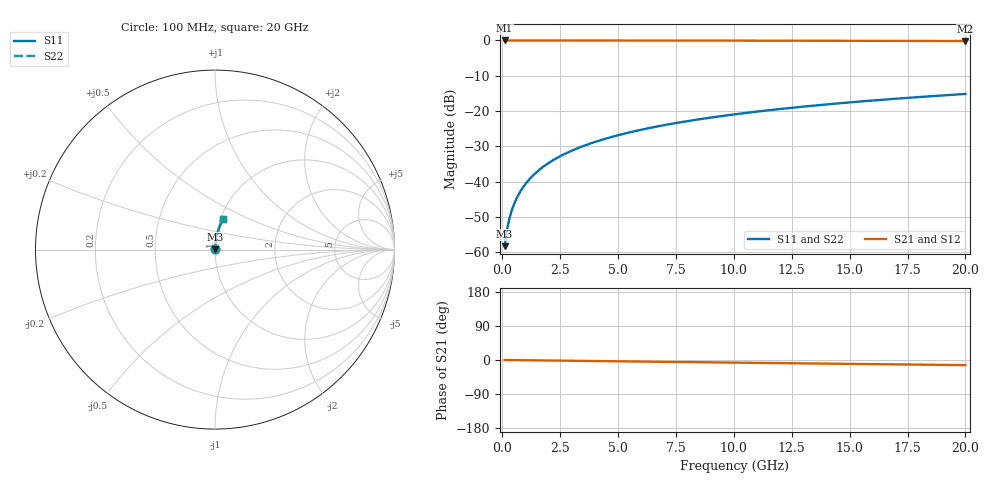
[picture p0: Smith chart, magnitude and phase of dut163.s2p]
! Touchstone file exported from HFSS 2026.1.0
!  File:  C:/ffzhzh/LocalFiles/Ansys_Project_Files/temp_train_BSMRDL_163_1782986849_42984.aedt
!  Generated:  06:09:12 PM Jul  2, 2026
!  Design:  BSMRDL
!  Project:  temp_train_BSMRDL_163_1782986849_42984
! Variables:
!  h_bsmrdl = 4.75um
!  h_ox = 20um
!  h_rdl = 5um
!  h_sub = 80um
!  h_tmrdl = 5um
!  h_tsv = 80um
!  h_via = 3um
!  l_bsmrdl = 122.9um
!  l_sub = 522.9um
!  l_tmrdl = 200um
!  m_sub = 200um
!  pitch = 57.92um
!  r_tsv = 6um
!  s_tmrdl = 10um
!  w_bsmrdl = 14.39um
!  w_sub = 500um
!  w_tmrdl = 12um
!  x_tsv_center1 = 206um
!  x_tsv_center2 = 343.29um
!  x_tsv_center3 = 555.29um
!  x_tsv_center4 = 692.58um
!  x_tsv_center5 = 904.58um
!  x_tsv_center6 = 1041.87um
# GHz S MA R 50.000000
! Terminal data exported
! Port[1] = BSM_RDL1_1_T1
! Port[2] = BSM_RDL1_1_T2
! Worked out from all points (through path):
!   200 points, 100 MHz to 20 GHz, reference 50 ohm
!   highest |S21| = -0.01 dB at 100 MHz (marker M1); lowest = -0.2 dB at 20 GHz (marker M2)
!   group delay of S21, straight-line fit = 1.88 ps
!   lowest |S11| = -58.3 dB at 100 MHz (marker M3), VSWR 1.00, Z = 50.1 + j0.0948 ohm
!   |S11| at or under -10 dB: start of sweep to end of sweep
!   |S22| runs from -58.3 to -15.2 dB; largest |S21 - S12| = 3.1e-15
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0.1  0.001219 50.9  0.9992 -0.1  0.9992 -0.1  0.001219 50.9
! Gamma 0 0 0 0
! Port Impedance 50 0 50 0
0.2  0.002044 67.3  0.9992 -0.1  0.9992 -0.1  0.002044 67.3
0.3  0.002929 73.8  0.9992 -0.2  0.9992 -0.2  0.002929 73.8
0.4  0.003827 77.2  0.9992 -0.3  0.9992 -0.3  0.003827 77.2
0.5  0.004728 79.3  0.9991 -0.4  0.9991 -0.4  0.004728 79.3
0.7  0.006538 81.8  0.9991 -0.5  0.9991 -0.5  0.006538 81.8
0.8  0.007444 82.6  0.9991 -0.6  0.9991 -0.6  0.007444 82.6
1  0.009261 83.7  0.999 -0.7  0.999 -0.7  0.009261 83.7
1.2  0.01108 84.4  0.999 -0.8  0.999 -0.8  0.01108 84.4
1.4  0.0129 84.8  0.999 -1.0  0.999 -1.0  0.0129 84.8
1.7  0.01563 85.2  0.9989 -1.2  0.9989 -1.2  0.01563 85.2
2  0.01837 85.4  0.9988 -1.4  0.9988 -1.4  0.01837 85.4
2.7  0.02472 85.5  0.9986 -1.9  0.9986 -1.9  0.02472 85.5
3.5  0.03196 85.3  0.9982 -2.4  0.9982 -2.4  0.03196 85.3
4.2  0.03826 85.0  0.9979 -2.9  0.9979 -2.9  0.03826 85.0
5  0.04543 84.6  0.9974 -3.5  0.9974 -3.5  0.04543 84.6
6.8  0.06142 83.5  0.9962 -4.7  0.9962 -4.7  0.06142 83.5
8.3  0.07463 82.6  0.9951 -5.7  0.9951 -5.7  0.07463 82.6
10.1  0.09036 81.5  0.9935 -6.9  0.9935 -6.9  0.09036 81.5
13.4  0.1189 79.5  0.9902 -9.2  0.9902 -9.2  0.1189 79.5
16.7  0.147 77.4  0.9861 -11.4  0.9861 -11.4  0.147 77.4
20  0.1745 75.3  0.9813 -13.6  0.9813 -13.6  0.1745 75.3
